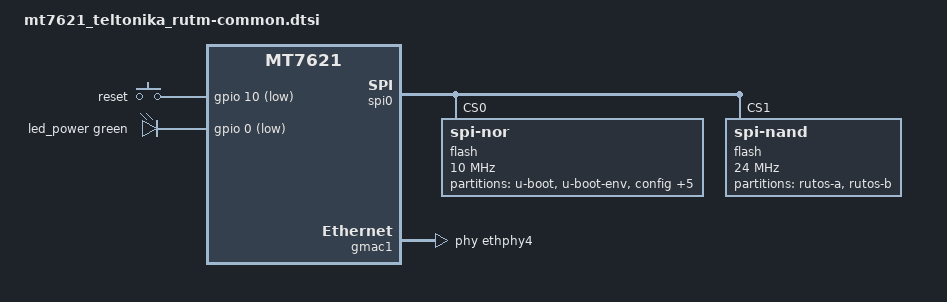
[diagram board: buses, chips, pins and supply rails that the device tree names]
// SPDX-License-Identifier: GPL-2.0-or-later OR MIT

#include "mt7621.dtsi"

#include <dt-bindings/gpio/gpio.h>
#include <dt-bindings/input/input.h>
#include <dt-bindings/leds/common.h>

/ {
	aliases {
		led-boot = &led_power;
		led-failsafe = &led_power;
		led-running = &led_power;
		led-upgrade = &led_power;
	};

	chosen {
		bootargs = "console=ttyS0,115200n8";
	};

	keys {
		compatible = "gpio-keys";

		reset {
			label = "reset";
			linux,code = <KEY_RESTART>;
			gpios = <&gpio 10 GPIO_ACTIVE_LOW>;
			debounce-interval = <60>;
		};
	};

	leds {
		compatible = "gpio-leds";

		led_power: power {
			function = LED_FUNCTION_POWER;
			color = <LED_COLOR_ID_GREEN>;
			gpios = <&gpio 0 GPIO_ACTIVE_LOW>;
		};
	};
};

&spi0 {
	status = "okay";

	flash@0 {
		compatible = "jedec,spi-nor";
		reg = <0>;
		spi-max-frequency = <10000000>;

		partitions {
			compatible = "fixed-partitions";
			#address-cells = <1>;
			#size-cells = <1>;

			partition@0 {
				label = "u-boot";
				reg = <0x0 0x80000>;
				read-only;
			};

			partition@80000 {
				label = "u-boot-env";
				reg = <0x80000 0x10000>;
				read-only;
			};

			partition@90000 {
				label = "config";
				reg = <0x90000 0x10000>;
				read-only;

				nvmem-layout {
					compatible = "fixed-layout";
					#address-cells = <1>;
					#size-cells = <1>;

					macaddr_config_0: macaddr@0 {
						compatible = "mac-base";
						reg = <0x0 0x6>;
						#nvmem-cell-cells = <1>;
					};
				};
			};

			partition@a0000 {
				label = "bootconfig-a";
				reg = <0xa0000 0x10000>;
			};

			partition@b0000 {
				label = "bootconfig-b";
				reg = <0xb0000 0x10000>;
			};

			partition@c0000 {
				label = "factory";
				reg = <0xc0000 0x10000>;
				read-only;

				nvmem-layout {
					compatible = "fixed-layout";
					#address-cells = <1>;
					#size-cells = <1>;

					eeprom_factory_0: eeprom@0 {
						reg = <0x0 0x4da8>;
					};
				};
			};

			partition@d0000 {
				label = "event-log";
				reg = <0xd0000 0x90000>;
			};

			partition@400000 {
				label = "recovery";
				reg = <0x200000 0xe00000>;
			};
		};
	};

	flash@1 {
		compatible = "spi-nand";
		#address-cells = <1>;
		#size-cells = <1>;
		reg = <1>;
		spi-max-frequency = <24000000>;

		partitions {
			compatible = "fixed-partitions";
			#address-cells = <1>;
			#size-cells = <1>;

			partition@0 {
				label = "rutos-a";
				reg = <0x00000000 0x08000000>;
			};

			partition@8000000 {
				label = "rutos-b";
				reg = <0x08000000 0x08000000>;
			};
		};
	};
};

&gmac0 {
	nvmem-cells = <&macaddr_config_0 0>;
	nvmem-cell-names = "mac-address";
};

&gmac1 {
	status = "okay";
	label = "wan";
	phy-handle = <&ethphy4>;
	nvmem-cells = <&macaddr_config_0 1>;
	nvmem-cell-names = "mac-address";
};

&state_default {
	gpio {
		groups = "wdt", "jtag", "sdhci", "uart2", "uart3";
		function = "gpio";
	};
};

&ethphy4 {
	/delete-property/ interrupts;
};
